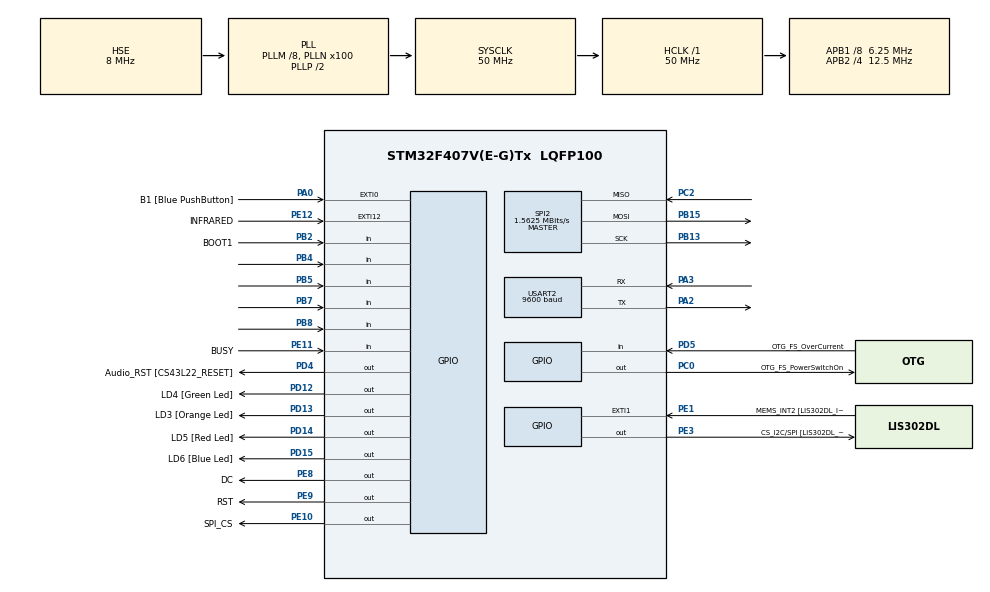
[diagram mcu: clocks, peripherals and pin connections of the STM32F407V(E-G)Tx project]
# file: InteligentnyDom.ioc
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Mcu.Family=STM32F4
Mcu.Name=STM32F407V(E-G)Tx
Mcu.Package=LQFP100
NVIC.EXTI15_10_IRQn=true\:0\:0\:false\:false\:true\:true
NVIC.PriorityGroup=NVIC_PRIORITYGROUP_0
PA0-WKUP.GPIO_Label=B1 [Blue PushButton]
PA0-WKUP.GPIO_ModeDefaultEXTI=GPIO_MODE_EVT_RISING
PA0-WKUP.GPIO_PuPd=GPIO_NOPULL
PA0-WKUP.Signal=GPXTI0
PA10.GPIO_Label=OTG_FS_ID
PA10.GPIO_Mode=GPIO_MODE_AF_PP
PA10.GPIO_PuPd=GPIO_NOPULL
PA10.GPIO_Speed=GPIO_SPEED_FREQ_LOW
PA10.Signal=USB_OTG_FS_ID
PA11.GPIO_Label=OTG_FS_DM
PA11.GPIO_Mode=GPIO_MODE_AF_PP
PA11.GPIO_PuPd=GPIO_NOPULL
PA11.GPIO_Speed=GPIO_SPEED_FREQ_LOW
PA11.Signal=USB_OTG_FS_DM
PA12.GPIO_Label=OTG_FS_DP
PA12.GPIO_Mode=GPIO_MODE_AF_PP
PA12.GPIO_PuPd=GPIO_NOPULL
PA12.GPIO_Speed=GPIO_SPEED_FREQ_LOW
PA12.Signal=USB_OTG_FS_DP
PA13.GPIO_Label=SWDIO
PA13.Mode=Serial_Wire
PA13.Signal=SYS_JTMS-SWDIO
PA14.GPIO_Label=SWCLK
PA14.Mode=Serial_Wire
PA14.Signal=SYS_JTCK-SWCLK
PA2.Mode=Asynchronous
PA2.Signal=USART2_TX
PA3.Mode=Asynchronous
PA3.Signal=USART2_RX
PA4.GPIO_Label=I2S3_WS [CS43L22_LRCK]
PA4.GPIO_Mode=GPIO_MODE_AF_PP
PA4.GPIO_PuPd=GPIO_NOPULL
PA4.GPIO_Speed=GPIO_SPEED_FREQ_LOW
PA4.Signal=I2S3_WS
PA5.GPIO_Label=SPI1_SCK [LIS302DL_SCL/SPC]
PA5.GPIO_Mode=GPIO_MODE_AF_PP
PA5.GPIO_PuPd=GPIO_NOPULL
PA5.GPIO_Speed=GPIO_SPEED_FREQ_LOW
PA5.Signal=SPI1_SCK
PA6.GPIO_Label=SPI1_MISO [LIS302DL_SDO]
PA6.GPIO_Mode=GPIO_MODE_AF_PP
PA6.GPIO_PuPd=GPIO_NOPULL
PA6.GPIO_Speed=GPIO_SPEED_FREQ_LOW
PA6.Signal=SPI1_MISO
PA7.GPIO_Label=SPI1_MOSI [LIS302DL_SDA/SDI/SDO]
PA7.GPIO_Mode=GPIO_MODE_AF_PP
PA7.GPIO_PuPd=GPIO_NOPULL
PA7.GPIO_Speed=GPIO_SPEED_FREQ_LOW
PA7.Signal=SPI1_MOSI
PA9.GPIO_Label=VBUS_FS
PA9.GPIO_Mode=GPIO_MODE_INPUT
PA9.GPIO_PuPd=GPIO_NOPULL
PA9.Signal=USB_OTG_FS_VBUS
PB10.GPIO_Label=CLK_IN [MP45DT02_CLK]
PB10.GPIO_Mode=GPIO_MODE_AF_PP
PB10.GPIO_PuPd=GPIO_NOPULL
PB10.GPIO_Speed=GPIO_SPEED_FREQ_LOW
PB10.Signal=I2S2_CK
PB13.Mode=Full_Duplex_Master
PB13.Signal=SPI2_SCK
PB15.Mode=Full_Duplex_Master
PB15.Signal=SPI2_MOSI
PB2.GPIO_Label=BOOT1
PB2.GPIO_Mode=GPIO_MODE_INPUT
PB2.GPIO_PuPd=GPIO_NOPULL
PB2.Signal=GPIO_Input
PB3.GPIO_Label=SWO
PB3.Signal=SYS_JTDO-SWO
PB4.Signal=GPIO_Input
PB5.Signal=GPIO_Input
PB6.GPIO_Label=Audio_SCL [CS43L22_SCL]
PB6.GPIO_Mode=GPIO_MODE_AF_OD
PB6.GPIO_PuPd=GPIO_NOPULL
PB6.GPIO_Speed=GPIO_SPEED_FREQ_LOW
PB6.Signal=I2C1_SCL
PB7.Signal=GPIO_Input
PB8.Signal=GPIO_Input
PB9.GPIO_Label=Audio_SDA [CS43L22_SDA]
PB9.GPIO_Mode=GPIO_MODE_AF_OD
PB9.GPIO_PuPd=GPIO_NOPULL
PB9.GPIO_Speed=GPIO_SPEED_FREQ_LOW
PB9.Signal=I2C1_SDA
PC0.GPIO_Label=OTG_FS_PowerSwitchOn
PC0.GPIO_PuPd=GPIO_NOPULL
PC0.GPIO_Speed=GPIO_SPEED_FREQ_LOW
PC0.PinState=GPIO_PIN_SET
PC0.Signal=GPIO_Output
PC10.GPIO_Label=I2S3_SCK [CS43L22_SCLK]
PC10.GPIO_Mode=GPIO_MODE_AF_PP
PC10.GPIO_PuPd=GPIO_NOPULL
PC10.GPIO_Speed=GPIO_SPEED_FREQ_LOW
PC10.Signal=I2S3_CK
PC12.GPIO_Label=I2S3_SD [CS43L22_SDIN]
PC12.GPIO_Mode=GPIO_MODE_AF_PP
PC12.GPIO_PuPd=GPIO_NOPULL
PC12.GPIO_Speed=GPIO_SPEED_FREQ_LOW
PC12.Signal=I2S3_SD
PC14-OSC32_IN.GPIO_Label=PC14-OSC32_IN
PC14-OSC32_IN.Signal=RCC_OSC32_IN
PC15-OSC32_OUT.GPIO_Label=PC15-OSC32_OUT
PC15-OSC32_OUT.Signal=RCC_OSC32_OUT
PC2.Mode=Full_Duplex_Master
PC2.Signal=SPI2_MISO
PC3.GPIO_Label=PDM_OUT [MP45DT02_DOUT]
PC3.GPIO_Mode=GPIO_MODE_AF_PP
PC3.GPIO_PuPd=GPIO_NOPULL
PC3.GPIO_Speed=GPIO_SPEED_FREQ_LOW
PC3.Signal=I2S2_SD
PC7.GPIO_Label=I2S3_MCK [CS43L22_MCLK]
PC7.GPIO_Mode=GPIO_MODE_AF_PP
PC7.GPIO_PuPd=GPIO_NOPULL
PC7.GPIO_Speed=GPIO_SPEED_FREQ_LOW
PC7.Signal=I2S3_MCK
PD12.GPIO_Label=LD4 [Green Led]
PD12.GPIO_PuPd=GPIO_NOPULL
PD12.GPIO_Speed=GPIO_SPEED_FREQ_LOW
PD12.Signal=GPIO_Output
PD13.GPIO_Label=LD3 [Orange Led]
PD13.GPIO_PuPd=GPIO_NOPULL
PD13.GPIO_Speed=GPIO_SPEED_FREQ_LOW
PD13.Signal=GPIO_Output
PD14.GPIO_Label=LD5 [Red Led]
PD14.GPIO_PuPd=GPIO_NOPULL
PD14.GPIO_Speed=GPIO_SPEED_FREQ_LOW
PD14.Signal=GPIO_Output
PD15.GPIO_Label=LD6 [Blue Led]
PD15.GPIO_PuPd=GPIO_NOPULL
PD15.GPIO_Speed=GPIO_SPEED_FREQ_LOW
PD15.Signal=GPIO_Output
PD4.GPIO_Label=Audio_RST [CS43L22_RESET]
PD4.GPIO_PuPd=GPIO_NOPULL
PD4.GPIO_Speed=GPIO_SPEED_FREQ_LOW
PD4.Signal=GPIO_Output
PD5.GPIO_Label=OTG_FS_OverCurrent
PD5.GPIO_Mode=GPIO_MODE_INPUT
PD5.GPIO_PuPd=GPIO_NOPULL
PD5.Signal=GPIO_Input
PE1.GPIO_Label=MEMS_INT2 [LIS302DL_INT2]
PE1.GPIO_ModeDefaultEXTI=GPIO_MODE_EVT_RISING
PE1.GPIO_PuPd=GPIO_NOPULL
PE1.Signal=GPXTI1
PE10.GPIO_Label=SPI_CS
PE10.Signal=GPIO_Output
PE11.GPIO_Label=BUSY
PE11.Signal=GPIO_Input
PE12.GPIO_Label=INFRARED
PE12.Signal=GPXTI12
PE3.GPIO_Label=CS_I2C/SPI [LIS302DL_CS_I2C/SPI]
PE3.GPIO_PuPd=GPIO_NOPULL
PE3.GPIO_Speed=GPIO_SPEED_FREQ_LOW
PE3.Signal=GPIO_Output
PE8.GPIO_Label=DC
PE8.Signal=GPIO_Output
PE9.GPIO_Label=RST
PE9.Signal=GPIO_Output
PH0-OSC_IN.GPIO_Label=PH0-OSC_IN
PH0-OSC_IN.Mode=HSE-External-Oscillator
PH0-OSC_IN.Signal=RCC_OSC_IN
PH1-OSC_OUT.GPIO_Label=PH1-OSC_OUT
PH1-OSC_OUT.Mode=HSE-External-Oscillator
PH1-OSC_OUT.Signal=RCC_OSC_OUT
ProjectManager.HeapSize=0x200
ProjectManager.StackSize=0x400
ProjectManager.TargetToolchain=SW4STM32
RCC.48MHZClocksFreq_Value=14285714.285714285
RCC.AHBFreq_Value=50000000
RCC.APB1CLKDivider=RCC_HCLK_DIV8
RCC.APB1Freq_Value=6250000
RCC.APB1TimFreq_Value=12500000
RCC.APB2CLKDivider=RCC_HCLK_DIV4
RCC.APB2Freq_Value=12500000
RCC.APB2TimFreq_Value=25000000
RCC.CortexFreq_Value=50000000
RCC.HCLKFreq_Value=50000000
RCC.HSE_VALUE=8000000
RCC.HSI_VALUE=16000000
RCC.LSE_VALUE=32768
RCC.PLLM=8
RCC.PLLN=100
RCC.PLLQ=7
RCC.PLLSourceVirtual=RCC_PLLSOURCE_HSE
RCC.SYSCLKFreq_VALUE=50000000
RCC.SYSCLKSource=RCC_SYSCLKSOURCE_PLLCLK
RCC.VCOOutputFreq_Value=100000000
SPI2.BaudRatePrescaler=SPI_BAUDRATEPRESCALER_4
SPI2.CalculateBaudRate=1.5625 MBits/s
SPI2.Direction=SPI_DIRECTION_2LINES
SPI2.Mode=SPI_MODE_MASTER
SPI2.VirtualType=VM_MASTER
USART2.BaudRate=9600
USART2.VirtualMode=VM_ASYNC
board=STM32F4DISCOVERY

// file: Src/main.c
/**
  ******************************************************************************
  * @file           : main.c
  * @brief          : Main program body
  ******************************************************************************
  ** This notice applies to any and all portions of this file
  * that are not between comment pairs USER CODE BEGIN and
  * USER CODE END. Other portions of this file, whether
  * inserted by the user or by software development tools
  * are owned by their respective copyright owners.
  *
  * COPYRIGHT(c) 2018 STMicroelectronics
  *
  * Redistribution and use in source and binary forms, with or without modification,
  * are permitted provided that the following conditions are met:
  *   1. Redistributions of source code must retain the above copyright notice,
  *      this list of conditions and the following disclaimer.
  *   2. Redistributions in binary form must reproduce the above copyright notice,
  *      this list of conditions and the following disclaimer in the documentation
  *      and/or other materials provided with the distribution.
  *   3. Neither the name of STMicroelectronics nor the names of its contributors
  *      may be used to endorse or promote products derived from this software
  *      without specific prior written permission.
  *
  * THIS SOFTWARE IS PROVIDED BY THE COPYRIGHT HOLDERS AND CONTRIBUTORS "AS IS"
  * AND ANY EXPRESS OR IMPLIED WARRANTIES, INCLUDING, BUT NOT LIMITED TO, THE
  * IMPLIED WARRANTIES OF MERCHANTABILITY AND FITNESS FOR A PARTICULAR PURPOSE ARE
  * DISCLAIMED. IN NO EVENT SHALL THE COPYRIGHT HOLDER OR CONTRIBUTORS BE LIABLE
  * FOR ANY DIRECT, INDIRECT, INCIDENTAL, SPECIAL, EXEMPLARY, OR CONSEQUENTIAL
  * DAMAGES (INCLUDING, BUT NOT LIMITED TO, PROCUREMENT OF SUBSTITUTE GOODS OR
  * SERVICES; LOSS OF USE, DATA, OR PROFITS; OR BUSINESS INTERRUPTION) HOWEVER
  * CAUSED AND ON ANY THEORY OF LIABILITY, WHETHER IN CONTRACT, STRICT LIABILITY,
  * OR TORT (INCLUDING NEGLIGENCE OR OTHERWISE) ARISING IN ANY WAY OUT OF THE USE
  * OF THIS SOFTWARE, EVEN IF ADVISED OF THE POSSIBILITY OF SUCH DAMAGE.
  *
  ******************************************************************************
  */
#include "main.h"
#include "stm32f4xx_hal.h"

/* USER CODE BEGIN Includes */
#include "epd1in54.h"
#include "epdif.h"
#include "epdpaint.h"
#include "startimage.h"
#include "imagedata.h"
#include "stm32f4xx_hal_gpio.h"
#include "stm32f4xx_hal_uart.h"

#define COLORED      0
#define UNCOLORED    1
/* USER CODE END Includes */

SPI_HandleTypeDef hspi2;

UART_HandleTypeDef huart2;

/* USER CODE BEGIN PV */
/* Private variables ---------------------------------------------------------*/

/* USER CODE END PV */

void SystemClock_Config(void);
static void MX_GPIO_Init(void);
static void MX_SPI2_Init(void);
static void MX_USART2_UART_Init(void);
int dev1, dev2, dev3, dev4=0;
void DisplayString(Paint* paint,const char* text,EPD* epd, const unsigned char* image_buffer);
/* USER CODE BEGIN PFP */
/* Private function prototypes -----------------------------------------------*/

/* USER CODE END PFP */

int main(void)
{
  /* USER CODE BEGIN 1 */
	 unsigned char frame_buffer[EPD_WIDTH * EPD_HEIGHT / 8];

	  char time_string[] = {'0', '0', ':', '0', '0', '\0'};
	  unsigned long time_start_ms;
	  unsigned long time_now_s;

  /* USER CODE END 1 */

  /* MCU Configuration----------------------------------------------------------*/

  /* Reset of all peripherals, Initializes the Flash interface and the Systick. */
  HAL_Init();

  /* Configure the system clock */
  SystemClock_Config();

  /* Initialize all configured peripherals */
  MX_GPIO_Init();
  MX_SPI2_Init();
  MX_USART2_UART_Init();
  /* USER CODE BEGIN 2 */

  EPD epd;
  EPD_Init(&epd, lut_full_update);

  Paint paint;
  Paint_Init(&paint, frame_buffer, epd.width, epd.height);
  Paint_Clear(&paint, UNCOLORED);

  EPD_Init(&epd, lut_partial_update);
  /**
    *  there are 2 memory areas embedded in the e-paper display
    *  and once the display is refreshed, the memory area will be auto-toggled,
    *  i.e. the next action of SetFrameMemory will set the other memory area
    *  therefore you have to set the frame memory and refresh the display twice.
    */

  //wyswietlanie ekranu startowego
  EPD_SetFrameMemory(&epd, START_IMAGE, 0, 0, epd.width, epd.height);
  EPD_DisplayFrame(&epd);
  EPD_SetFrameMemory(&epd, START_IMAGE, 0, 0, epd.width, epd.height);
  EPD_DisplayFrame(&epd);
  EPD_DelayMs(&epd, 2000);
  time_start_ms = HAL_GetTick();

  /* For simplicity, the arguments are explicit numerical coordinates */
  /* Write strings to the buffer */
  Paint_DrawFilledRectangle(&paint, 0, 6, 200, 26, COLORED);
  Paint_DrawStringAt(&paint, 28, 10, "InteliHouse", &Font16, UNCOLORED);
  Paint_DrawStringAt(&paint, 20, 30, "Wybierz przycisk ", &Font16, COLORED);

  Paint_DrawCircle(&paint, 50, 80, 30, COLORED);
  Paint_DrawCircle(&paint, 150, 80, 30, COLORED);
  Paint_DrawCircle(&paint, 50, 150, 30, COLORED);
  Paint_DrawCircle(&paint, 150, 150, 30, COLORED);

  Paint_DrawStringAt(&paint, 43, 70, "1", &Font24, COLORED);
  Paint_DrawStringAt(&paint, 143, 70, "2", &Font24, COLORED);
  Paint_DrawStringAt(&paint, 43, 140, "3", &Font24, COLORED);
  Paint_DrawStringAt(&paint, 143, 140, "4", &Font24, COLORED);

  //wyswietlanie ekranu glownego
  /* Display the frame_buffer */
  EPD_SetFrameMemory(&epd, frame_buffer, 0, 0, Paint_GetWidth(&paint), Paint_GetHeight(&paint));
  EPD_DisplayFrame(&epd);
  EPD_DelayMs(&epd, 200);

/*//Funkcje do komunikacji przez UART z ESP88266
  uint8_t buffer[10];
  HAL_UART_Transmit(&huart2,(uint8_t*) "witam", sizeof("witam"), 1000);
  HAL_UART_Receive(&huart2, buffer, 10, 1000);
*/

  /* USER CODE END 2 */

  /* Infinite loop */
  while (1)
  {
//
	 if(HAL_GPIO_ReadPin(GPIOB, GPIO_PIN_4)&&(dev1==0)){
		//wlaczanie urzadzenia 1
		//HAL_GPIO_TogglePin(LD3_GPIO_Port,GPIO_PIN_13);
		HAL_GPIO_WritePin(LD3_GPIO_Port,LD3_Pin,GPIO_PIN_SET);
		dev1=1;
		DisplayString(&paint,"Device 1 ON",&epd,frame_buffer);

	 	 }

	 if(HAL_GPIO_ReadPin(GPIOB, GPIO_PIN_4)&&(dev1==1)){
		 //wylaczanie urzadzenia 1
		 HAL_GPIO_WritePin(LD3_GPIO_Port,LD3_Pin,GPIO_PIN_RESET);
		 dev1=0;
		 DisplayString(&paint,"Device 1 OFF",&epd,frame_buffer);

	 	 }

	 if(HAL_GPIO_ReadPin(GPIOB, GPIO_PIN_5)&&(dev2==0)){
		 //wlaczanie urzadzenia 2
	 	 HAL_GPIO_WritePin(LD4_GPIO_Port,LD4_Pin,GPIO_PIN_SET);
	 	 dev2=1;
	 	 DisplayString(&paint,"Device 2 ON",&epd,frame_buffer);
	 	 }

	 if(HAL_GPIO_ReadPin(GPIOB, GPIO_PIN_5)&&(dev2==1)){
		 //wylaczanie urzadzenia 2
	 	 HAL_GPIO_WritePin(LD4_GPIO_Port,LD4_Pin,GPIO_PIN_RESET);
	 	 dev2=0;
	 	 DisplayString(&paint,"Device 2 OFF",&epd,frame_buffer);
	 	 }

	 if(HAL_GPIO_ReadPin(GPIOB, GPIO_PIN_7)&&(dev3==0)){
		 //wlaczanie urzadzenia 3
	 	 HAL_GPIO_WritePin(LD5_GPIO_Port,LD5_Pin,GPIO_PIN_SET);
	 	 dev3=1;
	 	 DisplayString(&paint,"Device 3 ON",&epd,frame_buffer);
	 	 }

	 if(HAL_GPIO_ReadPin(GPIOB, GPIO_PIN_7)&&(dev3==1)){
	 	//wylaczanie urzadzenia 3
	 	 HAL_GPIO_WritePin(LD5_GPIO_Port,LD5_Pin,GPIO_PIN_RESET);
	 	 dev3=0;
	 	 DisplayString(&paint,"Device 3 OFF",&epd,frame_buffer);
	 	 }

	 if(HAL_GPIO_ReadPin(GPIOB, GPIO_PIN_8)&&(dev4==0)){
	 	//wlaczanie urzadzenia 4
	 	HAL_GPIO_WritePin(LD6_GPIO_Port,LD6_Pin,GPIO_PIN_SET);
	 	dev4=1;
	 	DisplayString(&paint,"Device 4 ON",&epd,frame_buffer);
	 	 }

	 if(HAL_GPIO_ReadPin(GPIOB, GPIO_PIN_8)&&(dev4==1)){
	 	//wylaczanie urzadzenia 4
	 	HAL_GPIO_WritePin(LD6_GPIO_Port,LD6_Pin,GPIO_PIN_RESET);
	 	dev4=0;
	 	DisplayString(&paint,"Device 4 OFF",&epd,frame_buffer);
	 	 }

  /* USER CODE BEGIN 3 */
	 		 //wyswietlanie czasu
//	  time_now_s = (HAL_GetTick() - time_start_ms) / 1000;
//	     time_string[0] = time_now_s / 60 / 10 + '0';
//	     time_string[1] = time_now_s / 60 % 10 + '0';
//	     time_string[3] = time_now_s % 60 / 10 + '0';
//	     time_string[4] = time_now_s % 60 % 10 + '0';
//
//	     Paint_SetWidth(&paint, 32);
//	     Paint_SetHeight(&paint, 96);
//	     Paint_SetRotate(&paint, ROTATE_270);
//
//	     Paint_Clear(&paint, UNCOLORED);
//	     Paint_DrawStringAt(&paint, 0, 4, time_string, &Font24, COLORED);
//	   //  EPD_SetFrameMemory(&epd, frame_buffer, 80, 72, Paint_GetWidth(&paint), Paint_GetHeight(&paint));
//		 //   EPD_SetFrameMemory(&epd, frame_buffer, 10, 20, Paint_GetWidth(&paint), Paint_GetHeight(&paint));
//
//
//	     EPD_DisplayFrame(&epd);
//
//	     EPD_DelayMs(&epd, 500);
 // }
  /* USER CODE END 3 */

}
}
void DisplayString(Paint* paint,const char* text,EPD* epd, const unsigned char* image_buffer){

	Paint_Clear(paint, UNCOLORED);
	Paint_DrawFilledRectangle(paint, 0, 6, 200, 26, COLORED);
	Paint_DrawStringAt(paint, 28, 10, "InteliHouse", &Font16, UNCOLORED);
	Paint_DrawStringAt(paint, 30, 30, text, &Font16, COLORED);

	Paint_DrawStringAt(paint, 43, 70, "1", &Font24, COLORED);
	Paint_DrawStringAt(paint, 143, 70, "2", &Font24, COLORED);
	Paint_DrawStringAt(paint, 43, 140, "3", &Font24, COLORED);
	Paint_DrawStringAt(paint, 143, 140, "4", &Font24, COLORED);

	if(dev1==0)  Paint_DrawCircle(paint, 50, 80, 30, COLORED);
	else Paint_DrawFilledCircle(paint, 50, 80, 30, COLORED);
	if(dev2==0)  Paint_DrawCircle(paint, 150, 80, 30, COLORED);
	else Paint_DrawFilledCircle(paint, 150, 80, 30, COLORED);
	if(dev3==0)  Paint_DrawCircle(paint, 50, 150, 30, COLORED);
	else Paint_DrawFilledCircle(paint, 50, 150, 30, COLORED);
	if(dev4==0) Paint_DrawCircle(paint, 150, 150, 30, COLORED);
	else Paint_DrawFilledCircle(paint, 150, 150, 30, COLORED);

	/* Display the frame_buffer */
	EPD_SetFrameMemory(epd, image_buffer, 0, 0, Paint_GetWidth(paint), Paint_GetHeight(paint));
	EPD_DisplayFrame(epd);
	EPD_DelayMs(epd, 500);

}
void SystemClock_Config(void)
{

  RCC_OscInitTypeDef RCC_OscInitStruct;
  RCC_ClkInitTypeDef RCC_ClkInitStruct;

    /**Configure the main internal regulator output voltage
    */
  __HAL_RCC_PWR_CLK_ENABLE();

  __HAL_PWR_VOLTAGESCALING_CONFIG(PWR_REGULATOR_VOLTAGE_SCALE1);

    /**Initializes the CPU, AHB and APB busses clocks
    */
  RCC_OscInitStruct.OscillatorType = RCC_OSCILLATORTYPE_HSE;
  RCC_OscInitStruct.HSEState = RCC_HSE_ON;
  RCC_OscInitStruct.PLL.PLLState = RCC_PLL_ON;
  RCC_OscInitStruct.PLL.PLLSource = RCC_PLLSOURCE_HSE;
  RCC_OscInitStruct.PLL.PLLM = 8;
  RCC_OscInitStruct.PLL.PLLN = 100;
  RCC_OscInitStruct.PLL.PLLP = RCC_PLLP_DIV2;
  RCC_OscInitStruct.PLL.PLLQ = 7;
  if (HAL_RCC_OscConfig(&RCC_OscInitStruct) != HAL_OK)
  {
    _Error_Handler(__FILE__, __LINE__);
  }

    /**Initializes the CPU, AHB and APB busses clocks
    */
  RCC_ClkInitStruct.ClockType = RCC_CLOCKTYPE_HCLK|RCC_CLOCKTYPE_SYSCLK
                              |RCC_CLOCKTYPE_PCLK1|RCC_CLOCKTYPE_PCLK2;
  RCC_ClkInitStruct.SYSCLKSource = RCC_SYSCLKSOURCE_PLLCLK;
  RCC_ClkInitStruct.AHBCLKDivider = RCC_SYSCLK_DIV1;
  RCC_ClkInitStruct.APB1CLKDivider = RCC_HCLK_DIV8;
  RCC_ClkInitStruct.APB2CLKDivider = RCC_HCLK_DIV4;

  if (HAL_RCC_ClockConfig(&RCC_ClkInitStruct, FLASH_LATENCY_1) != HAL_OK)
  {
    _Error_Handler(__FILE__, __LINE__);
  }

    /**Configure the Systick interrupt time
    */
  HAL_SYSTICK_Config(HAL_RCC_GetHCLKFreq()/1000);

    /**Configure the Systick
    */
  HAL_SYSTICK_CLKSourceConfig(SYSTICK_CLKSOURCE_HCLK);

  /* SysTick_IRQn interrupt configuration */
  HAL_NVIC_SetPriority(SysTick_IRQn, 0, 0);
}

/* SPI2 init function */
static void MX_SPI2_Init(void)
{

  /* SPI2 parameter configuration*/
  hspi2.Instance = SPI2;
  hspi2.Init.Mode = SPI_MODE_MASTER;
  hspi2.Init.Direction = SPI_DIRECTION_2LINES;
  hspi2.Init.DataSize = SPI_DATASIZE_8BIT;
  hspi2.Init.CLKPolarity = SPI_POLARITY_LOW;
  hspi2.Init.CLKPhase = SPI_PHASE_1EDGE;
  hspi2.Init.NSS = SPI_NSS_SOFT;
  hspi2.Init.BaudRatePrescaler = SPI_BAUDRATEPRESCALER_4;
  hspi2.Init.FirstBit = SPI_FIRSTBIT_MSB;
  hspi2.Init.TIMode = SPI_TIMODE_DISABLE;
  hspi2.Init.CRCCalculation = SPI_CRCCALCULATION_DISABLE;
  hspi2.Init.CRCPolynomial = 10;
  if (HAL_SPI_Init(&hspi2) != HAL_OK)
  {
    _Error_Handler(__FILE__, __LINE__);
  }

}

/* USART2 init function */
static void MX_USART2_UART_Init(void)
{

  huart2.Instance = USART2;
  huart2.Init.BaudRate = 9600;
  huart2.Init.WordLength = UART_WORDLENGTH_8B;
  huart2.Init.StopBits = UART_STOPBITS_1;
  huart2.Init.Parity = UART_PARITY_NONE;
  huart2.Init.Mode = UART_MODE_TX_RX;
  huart2.Init.HwFlowCtl = UART_HWCONTROL_NONE;
  huart2.Init.OverSampling = UART_OVERSAMPLING_16;
  if (HAL_UART_Init(&huart2) != HAL_OK)
  {
    _Error_Handler(__FILE__, __LINE__);
  }

}

/** Configure pins as
        * Analog
        * Input
        * Output
        * EVENT_OUT
        * EXTI
     PC3   ------> I2S2_SD
     PA4   ------> I2S3_WS
     PA5   ------> SPI1_SCK
     PA6   ------> SPI1_MISO
     PA7   ------> SPI1_MOSI
     PB10   ------> I2S2_CK
     PC7   ------> I2S3_MCK
     PA9   ------> USB_OTG_FS_VBUS
     PA10   ------> USB_OTG_FS_ID
     PA11   ------> USB_OTG_FS_DM
     PA12   ------> USB_OTG_FS_DP
     PC10   ------> I2S3_CK
     PC12   ------> I2S3_SD
     PB6   ------> I2C1_SCL
     PB9   ------> I2C1_SDA
*/
static void MX_GPIO_Init(void)
{

  GPIO_InitTypeDef GPIO_InitStruct;

  /* GPIO Ports Clock Enable */
  __HAL_RCC_GPIOE_CLK_ENABLE();
  __HAL_RCC_GPIOC_CLK_ENABLE();
  __HAL_RCC_GPIOH_CLK_ENABLE();
  __HAL_RCC_GPIOA_CLK_ENABLE();
  __HAL_RCC_GPIOB_CLK_ENABLE();
  __HAL_RCC_GPIOD_CLK_ENABLE();

  /*Configure GPIO pin Output Level */
  HAL_GPIO_WritePin(GPIOE, CS_I2C_SPI_Pin|DC_Pin|RST_Pin|SPI_CS_Pin, GPIO_PIN_RESET);

  /*Configure GPIO pin Output Level */
  HAL_GPIO_WritePin(OTG_FS_PowerSwitchOn_GPIO_Port, OTG_FS_PowerSwitchOn_Pin, GPIO_PIN_SET);

  /*Configure GPIO pin Output Level */
  HAL_GPIO_WritePin(GPIOD, LD4_Pin|LD3_Pin|LD5_Pin|LD6_Pin
                          |Audio_RST_Pin, GPIO_PIN_RESET);

  /*Configure GPIO pins : CS_I2C_SPI_Pin DC_Pin RST_Pin SPI_CS_Pin */
  GPIO_InitStruct.Pin = CS_I2C_SPI_Pin|DC_Pin|RST_Pin|SPI_CS_Pin;
  GPIO_InitStruct.Mode = GPIO_MODE_OUTPUT_PP;
  GPIO_InitStruct.Pull = GPIO_NOPULL;
  GPIO_InitStruct.Speed = GPIO_SPEED_FREQ_LOW;
  HAL_GPIO_Init(GPIOE, &GPIO_InitStruct);

  /*Configure GPIO pin : OTG_FS_PowerSwitchOn_Pin */
  GPIO_InitStruct.Pin = OTG_FS_PowerSwitchOn_Pin;
  GPIO_InitStruct.Mode = GPIO_MODE_OUTPUT_PP;
  GPIO_InitStruct.Pull = GPIO_NOPULL;
  GPIO_InitStruct.Speed = GPIO_SPEED_FREQ_LOW;
  HAL_GPIO_Init(OTG_FS_PowerSwitchOn_GPIO_Port, &GPIO_InitStruct);

  /*Configure GPIO pin : PDM_OUT_Pin */
  GPIO_InitStruct.Pin = PDM_OUT_Pin;
  GPIO_InitStruct.Mode = GPIO_MODE_AF_PP;
  GPIO_InitStruct.Pull = GPIO_NOPULL;
  GPIO_InitStruct.Speed = GPIO_SPEED_FREQ_LOW;
  GPIO_InitStruct.Alternate = GPIO_AF5_SPI2;
  HAL_GPIO_Init(PDM_OUT_GPIO_Port, &GPIO_InitStruct);

  /*Configure GPIO pin : B1_Pin */
  GPIO_InitStruct.Pin = B1_Pin;
  GPIO_InitStruct.Mode = GPIO_MODE_EVT_RISING;
  GPIO_InitStruct.Pull = GPIO_NOPULL;
  HAL_GPIO_Init(B1_GPIO_Port, &GPIO_InitStruct);

  /*Configure GPIO pin : I2S3_WS_Pin */
  GPIO_InitStruct.Pin = I2S3_WS_Pin;
  GPIO_InitStruct.Mode = GPIO_MODE_AF_PP;
  GPIO_InitStruct.Pull = GPIO_NOPULL;
  GPIO_InitStruct.Speed = GPIO_SPEED_FREQ_LOW;
  GPIO_InitStruct.Alternate = GPIO_AF6_SPI3;
  HAL_GPIO_Init(I2S3_WS_GPIO_Port, &GPIO_InitStruct);

  /*Configure GPIO pins : SPI1_SCK_Pin SPI1_MISO_Pin SPI1_MOSI_Pin */
  GPIO_InitStruct.Pin = SPI1_SCK_Pin|SPI1_MISO_Pin|SPI1_MOSI_Pin;
  GPIO_InitStruct.Mode = GPIO_MODE_AF_PP;
  GPIO_InitStruct.Pull = GPIO_NOPULL;
  GPIO_InitStruct.Speed = GPIO_SPEED_FREQ_LOW;
  GPIO_InitStruct.Alternate = GPIO_AF5_SPI1;
  HAL_GPIO_Init(GPIOA, &GPIO_InitStruct);

  /*Configure GPIO pins : BOOT1_Pin PB4 PB5 PB7
                           PB8 */
  GPIO_InitStruct.Pin = BOOT1_Pin|GPIO_PIN_4|GPIO_PIN_5|GPIO_PIN_7
                          |GPIO_PIN_8;
  GPIO_InitStruct.Mode = GPIO_MODE_INPUT;
  GPIO_InitStruct.Pull = GPIO_PULLDOWN;
  HAL_GPIO_Init(GPIOB, &GPIO_InitStruct);

  /*Configure GPIO pin : BUSY_Pin */
  GPIO_InitStruct.Pin = BUSY_Pin;
  GPIO_InitStruct.Mode = GPIO_MODE_INPUT;
  GPIO_InitStruct.Pull = GPIO_NOPULL;
  HAL_GPIO_Init(BUSY_GPIO_Port, &GPIO_InitStruct);

  /*Configure GPIO pin : INFRARED_Pin */
  GPIO_InitStruct.Pin = INFRARED_Pin;
  GPIO_InitStruct.Mode = GPIO_MODE_IT_RISING;
  GPIO_InitStruct.Pull = GPIO_NOPULL;
  HAL_GPIO_Init(INFRARED_GPIO_Port, &GPIO_InitStruct);

  /*Configure GPIO pin : CLK_IN_Pin */
  GPIO_InitStruct.Pin = CLK_IN_Pin;
  GPIO_InitStruct.Mode = GPIO_MODE_AF_PP;
  GPIO_InitStruct.Pull = GPIO_NOPULL;
  GPIO_InitStruct.Speed = GPIO_SPEED_FREQ_LOW;
  GPIO_InitStruct.Alternate = GPIO_AF5_SPI2;
  HAL_GPIO_Init(CLK_IN_GPIO_Port, &GPIO_InitStruct);

  /*Configure GPIO pins : LD4_Pin LD3_Pin LD5_Pin LD6_Pin
                           Audio_RST_Pin */
  GPIO_InitStruct.Pin = LD4_Pin|LD3_Pin|LD5_Pin|LD6_Pin
                          |Audio_RST_Pin;
  GPIO_InitStruct.Mode = GPIO_MODE_OUTPUT_PP;
  GPIO_InitStruct.Pull = GPIO_NOPULL;
  GPIO_InitStruct.Speed = GPIO_SPEED_FREQ_LOW;
  HAL_GPIO_Init(GPIOD, &GPIO_InitStruct);

  /*Configure GPIO pins : I2S3_MCK_Pin I2S3_SCK_Pin I2S3_SD_Pin */
  GPIO_InitStruct.Pin = I2S3_MCK_Pin|I2S3_SCK_Pin|I2S3_SD_Pin;
  GPIO_InitStruct.Mode = GPIO_MODE_AF_PP;
  GPIO_InitStruct.Pull = GPIO_NOPULL;
  GPIO_InitStruct.Speed = GPIO_SPEED_FREQ_LOW;
  GPIO_InitStruct.Alternate = GPIO_AF6_SPI3;
  HAL_GPIO_Init(GPIOC, &GPIO_InitStruct);

  /*Configure GPIO pin : VBUS_FS_Pin */
  GPIO_InitStruct.Pin = VBUS_FS_Pin;
  GPIO_InitStruct.Mode = GPIO_MODE_INPUT;
  GPIO_InitStruct.Pull = GPIO_NOPULL;
  HAL_GPIO_Init(VBUS_FS_GPIO_Port, &GPIO_InitStruct);

  /*Configure GPIO pins : OTG_FS_ID_Pin OTG_FS_DM_Pin OTG_FS_DP_Pin */
  GPIO_InitStruct.Pin = OTG_FS_ID_Pin|OTG_FS_DM_Pin|OTG_FS_DP_Pin;
  GPIO_InitStruct.Mode = GPIO_MODE_AF_PP;
  GPIO_InitStruct.Pull = GPIO_NOPULL;
  GPIO_InitStruct.Speed = GPIO_SPEED_FREQ_LOW;
  GPIO_InitStruct.Alternate = GPIO_AF10_OTG_FS;
  HAL_GPIO_Init(GPIOA, &GPIO_InitStruct);

  /*Configure GPIO pin : OTG_FS_OverCurrent_Pin */
  GPIO_InitStruct.Pin = OTG_FS_OverCurrent_Pin;
  GPIO_InitStruct.Mode = GPIO_MODE_INPUT;
  GPIO_InitStruct.Pull = GPIO_NOPULL;
  HAL_GPIO_Init(OTG_FS_OverCurrent_GPIO_Port, &GPIO_InitStruct);

  /*Configure GPIO pins : Audio_SCL_Pin Audio_SDA_Pin */
  GPIO_InitStruct.Pin = Audio_SCL_Pin|Audio_SDA_Pin;
  GPIO_InitStruct.Mode = GPIO_MODE_AF_OD;
  GPIO_InitStruct.Pull = GPIO_PULLUP;
  GPIO_InitStruct.Speed = GPIO_SPEED_FREQ_LOW;
  GPIO_InitStruct.Alternate = GPIO_AF4_I2C1;
  HAL_GPIO_Init(GPIOB, &GPIO_InitStruct);

  /*Configure GPIO pin : MEMS_INT2_Pin */
  GPIO_InitStruct.Pin = MEMS_INT2_Pin;
  GPIO_InitStruct.Mode = GPIO_MODE_EVT_RISING;
  GPIO_InitStruct.Pull = GPIO_NOPULL;
  HAL_GPIO_Init(MEMS_INT2_GPIO_Port, &GPIO_InitStruct);

  /* EXTI interrupt init*/
  HAL_NVIC_SetPriority(EXTI15_10_IRQn, 0, 0);
  HAL_NVIC_EnableIRQ(EXTI15_10_IRQn);

}

void _Error_Handler(char *file, int line)
{
  while(1)
  {
  }
}

/************************ (C) COPYRIGHT STMicroelectronics *****END OF FILE****/
